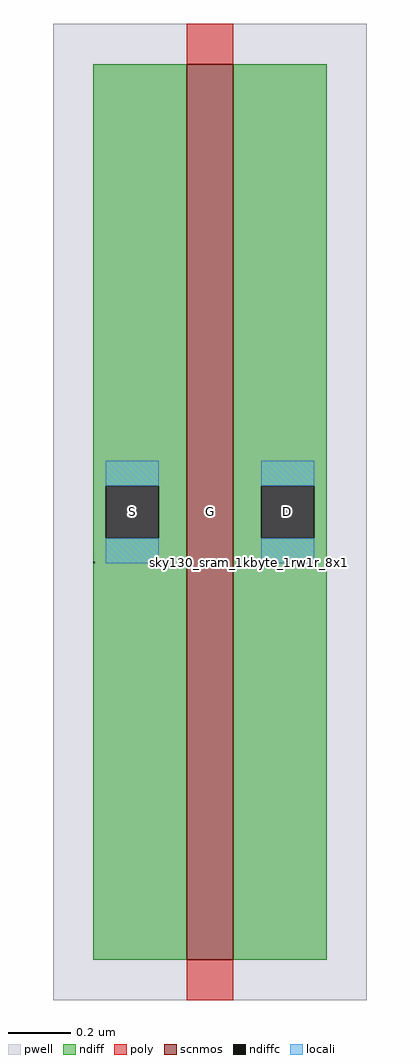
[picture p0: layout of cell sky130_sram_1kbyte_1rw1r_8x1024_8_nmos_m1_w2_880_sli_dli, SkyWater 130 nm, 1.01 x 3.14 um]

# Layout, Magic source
magic
tech sky130A
magscale 1 2
<< pwell >>
rect -26 -26 176 602
<< scnmos >>
rect 60 0 90 576
<< ndiff >>
rect 0 305 60 576
rect 0 271 8 305
rect 42 271 60 305
rect 0 0 60 271
rect 90 305 150 576
rect 90 271 108 305
rect 142 271 150 305
rect 90 0 150 271
<< ndiffc >>
rect 8 271 42 305
rect 108 271 142 305
<< poly >>
rect 60 576 90 602
rect 60 -26 90 0
<< locali >>
rect 8 305 42 321
rect 8 255 42 271
rect 108 305 142 321
rect 108 255 142 271
use sky130_sram_1kbyte_1rw1r_8x1024_8_contact_11  sky130_sram_1kbyte_1rw1r_8x1024_8_contact_11_0
transform 1 0 100 0 1 255
box 0 0 1 1
use sky130_sram_1kbyte_1rw1r_8x1024_8_contact_11  sky130_sram_1kbyte_1rw1r_8x1024_8_contact_11_1
transform 1 0 0 0 1 255
box 0 0 1 1
<< labels >>
rlabel locali s 25 288 25 288 4 S
port 1 nsew
rlabel locali s 125 288 125 288 4 D
port 2 nsew
rlabel poly s 75 288 75 288 4 G
port 3 nsew
<< properties >>
string FIXED_BBOX -25 -26 175 602
string GDS_FILE $PDKPATH/libs.ref/sky130_sram_macros/gds/sky130_sram_1kbyte_1rw1r_8x1024_8.gds
string GDS_END 52698
string GDS_START 51902
<< end >>
